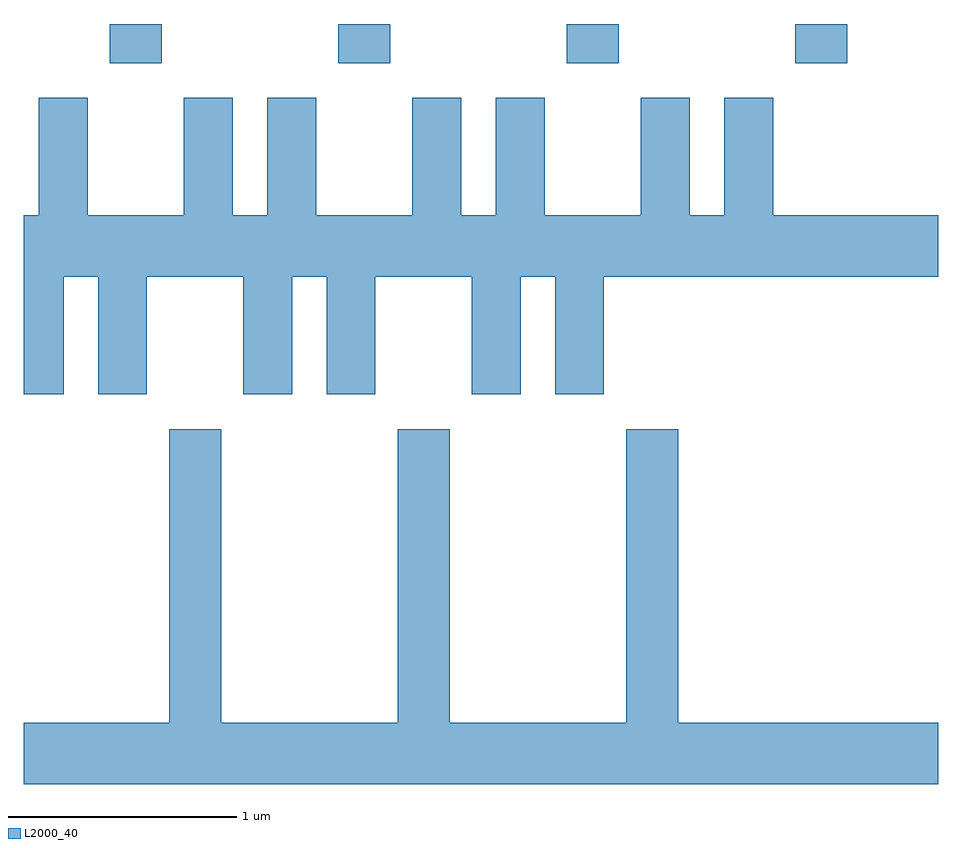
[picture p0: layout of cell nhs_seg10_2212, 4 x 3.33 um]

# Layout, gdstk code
import gdstk
lib = gdstk.Library(unit=1e-6, precision=1e-09)
def R(c, l, rs):  # rectangles x0, y0, x1, y1
    for r in rs: c.add(gdstk.rectangle(r[:2], r[2:], *l))
def A(c, l, x, y, w, h, nx, ny, dx, dy):  # array of equal rectangles
    R(c, l, [(x+i*dx, y+j*dy, x+i*dx+w, y+j*dy+h) for i in range(nx) for j in range(ny)])
def P(c, l, *ps):  # polygons
    for p in ps: c.add(gdstk.Polygon(p, *l))
L2000_40 = (2000, 40)

nhs_seg10_2212 = lib.new_cell('nhs_seg10_2212')
A(nhs_seg10_2212, L2000_40, 249.986, 2170.351, 0.228, 0.171, 4, 1, 1, 0)
P(nhs_seg10_2212, L2000_40, [(249.784,2169.416),(249.936,2169.416),(249.936,2168.901),(250.149,2168.901),(250.149,2169.416),(250.571,2169.416),(250.571,2168.901),(250.784,2168.901),(250.784,2169.416),(250.936,2169.416),(250.936,2168.901),(251.149,2168.901),(251.149,2169.416),(251.571,2169.416),(251.571,2168.901),(251.784,2168.901),(251.784,2169.416),(251.936,2169.416),(251.936,2168.901),(252.149,2168.901),(252.149,2169.416),(253.611,2169.416),(253.611,2169.684),(252.889,2169.684),(252.889,2170.199),(252.676,2170.199),(252.676,2169.684),(252.524,2169.684),(252.524,2170.199),(252.311,2170.199),(252.311,2169.684),(251.889,2169.684),(251.889,2170.199),(251.676,2170.199),(251.676,2169.684),(251.524,2169.684),(251.524,2170.199),(251.311,2170.199),(251.311,2169.684),(250.889,2169.684),(250.889,2170.199),(250.676,2170.199),(250.676,2169.684),(250.524,2169.684),(250.524,2170.199),(250.311,2170.199),(250.311,2169.684),(249.889,2169.684),(249.889,2170.199),(249.676,2170.199),(249.676,2169.684),(249.611,2169.684),(249.611,2168.901),(249.784,2168.901)],
  [(253.611,2167.464),(252.474,2167.464),(252.474,2168.749),(252.246,2168.749),(252.246,2167.464),(251.474,2167.464),(251.474,2168.749),(251.246,2168.749),(251.246,2167.464),(250.474,2167.464),(250.474,2168.749),(250.246,2168.749),(250.246,2167.464),(249.611,2167.464),(249.611,2167.196),(253.611,2167.196)])

lib.write_gds('nhs_seg10_2212.gds')
